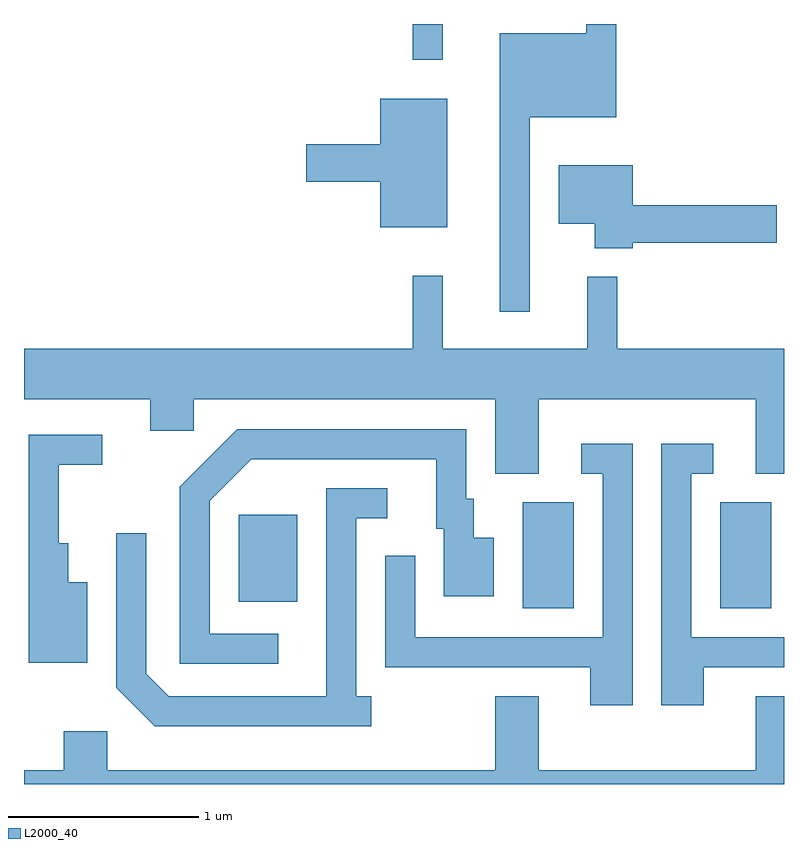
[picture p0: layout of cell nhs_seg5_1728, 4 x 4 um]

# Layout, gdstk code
import gdstk
lib = gdstk.Library(unit=1e-6, precision=1e-09)
def R(c, l, rs):  # rectangles x0, y0, x1, y1
    for r in rs: c.add(gdstk.rectangle(r[:2], r[2:], *l))
def P(c, l, *ps):  # polygons
    for p in ps: c.add(gdstk.Polygon(p, *l))
L2000_40 = (2000, 40)

nhs_seg5_1728 = lib.new_cell('nhs_seg5_1728')
R(nhs_seg5_1728, L2000_40, [(238.236,1488.996,238.504,1489.554), (239.276,1488.996,239.544,1489.554), (236.741,1489.031,237.049,1489.489), (237.656,1491.883,237.814,1492.072)])
P(nhs_seg5_1728, L2000_40, [(238.274,1491.581),(238.729,1491.581),(238.729,1492.072),(238.571,1492.072),(238.571,1492.024),(238.116,1492.024),(238.116,1490.558),(238.274,1490.558)],
  [(237.839,1491.679),(237.486,1491.679),(237.486,1491.439),(237.096,1491.439),(237.096,1491.241),(237.486,1491.241),(237.486,1491.001),(237.839,1491.001)],
  [(238.814,1490.921),(239.574,1490.921),(239.574,1491.119),(238.814,1491.119),(238.814,1491.329),(238.426,1491.329),(238.426,1491.021),(238.616,1491.021),(238.616,1490.891),(238.814,1490.891)],
  [(238.319,1490.096),(239.461,1490.096),(239.461,1489.706),(239.611,1489.706),(239.611,1490.364),(238.734,1490.364),(238.734,1490.743),(238.576,1490.743),(238.576,1490.364),(237.814,1490.364),(237.814,1490.748),(237.656,1490.748),(237.656,1490.364),(235.611,1490.364),(235.611,1490.096),(236.276,1490.096),(236.276,1489.931),(236.504,1489.931),(236.504,1490.096),(238.091,1490.096),(238.091,1489.706),(238.319,1489.706)],
  [(236.948,1488.864),(236.589,1488.864),(236.589,1489.564),(236.807,1489.781),(237.781,1489.781),(237.781,1489.416),(237.821,1489.416),(237.821,1489.061),(238.084,1489.061),(238.084,1489.369),(237.979,1489.369),(237.979,1489.574),(237.939,1489.574),(237.939,1489.939),(236.734,1489.939),(236.431,1489.637),(236.431,1488.706),(236.948,1488.706)],
  [(235.944,1489.134),(235.844,1489.134),(235.844,1489.339),(235.794,1489.339),(235.794,1489.751),(236.023,1489.751),(236.023,1489.909),(235.636,1489.909),(235.636,1488.711),(235.944,1488.711)],
  [(239.189,1488.686),(239.611,1488.686),(239.611,1488.844),(239.124,1488.844),(239.124,1489.706),(239.238,1489.706),(239.238,1489.864),(238.966,1489.864),(238.966,1488.486),(239.189,1488.486)],
  [(238.814,1489.864),(238.543,1489.864),(238.543,1489.706),(238.656,1489.706),(238.656,1488.844),(237.669,1488.844),(237.669,1489.273),(237.511,1489.273),(237.511,1488.686),(238.591,1488.686),(238.591,1488.486),(238.814,1488.486)],
  [(237.438,1488.534),(237.359,1488.534),(237.359,1489.471),(237.523,1489.471),(237.523,1489.629),(237.201,1489.629),(237.201,1488.534),(236.372,1488.534),(236.254,1488.652),(236.254,1489.393),(236.096,1489.393),(236.096,1488.579),(236.299,1488.376),(237.438,1488.376)],
  [(239.611,1488.534),(239.461,1488.534),(239.461,1488.144),(238.319,1488.144),(238.319,1488.534),(238.091,1488.534),(238.091,1488.144),(236.049,1488.144),(236.049,1488.349),(235.821,1488.349),(235.821,1488.144),(235.611,1488.144),(235.611,1488.072),(239.611,1488.072)])

lib.write_gds('nhs_seg5_1728.gds')
